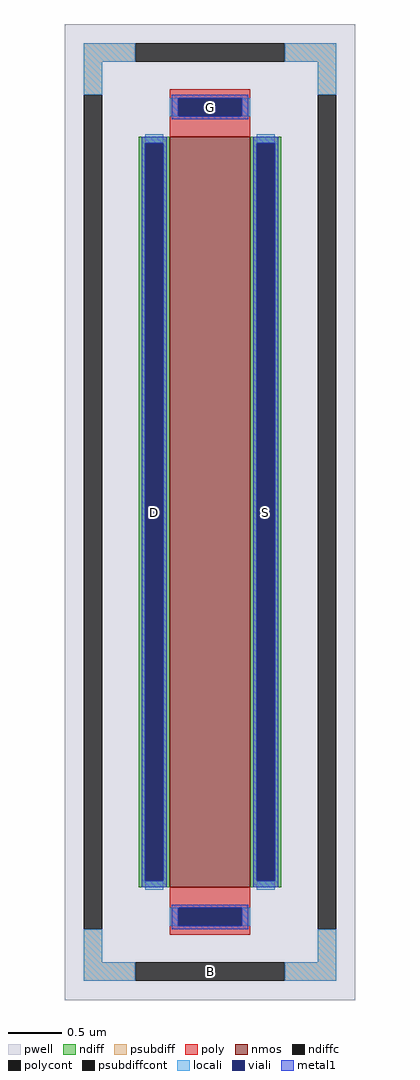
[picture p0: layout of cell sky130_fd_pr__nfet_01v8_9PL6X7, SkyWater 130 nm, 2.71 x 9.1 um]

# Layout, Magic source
magic
tech sky130A
magscale 1 2
<< pwell >>
rect -271 -910 271 910
<< nmos >>
rect -75 -700 75 700
<< ndiff >>
rect -133 688 -75 700
rect -133 -688 -121 688
rect -87 -688 -75 688
rect -133 -700 -75 -688
rect 75 688 133 700
rect 75 -688 87 688
rect 121 -688 133 688
rect 75 -700 133 -688
<< ndiffc >>
rect -121 -688 -87 688
rect 87 -688 121 688
<< psubdiff >>
rect -235 840 -139 874
rect 139 840 235 874
rect -235 778 -201 840
rect 201 778 235 840
rect -235 -840 -201 -778
rect 201 -840 235 -778
rect -235 -874 -139 -840
rect 139 -874 235 -840
<< psubdiffcont >>
rect -139 840 139 874
rect -235 -778 -201 778
rect 201 -778 235 778
rect -139 -874 139 -840
<< poly >>
rect -75 772 75 788
rect -75 738 -59 772
rect 59 738 75 772
rect -75 700 75 738
rect -75 -738 75 -700
rect -75 -772 -59 -738
rect 59 -772 75 -738
rect -75 -788 75 -772
<< polycont >>
rect -59 738 59 772
rect -59 -772 59 -738
<< locali >>
rect -235 840 -139 874
rect 139 840 235 874
rect -235 778 -201 840
rect 201 778 235 840
rect -75 738 -59 772
rect 59 738 75 772
rect -121 688 -87 704
rect -121 -704 -87 -688
rect 87 688 121 704
rect 87 -704 121 -688
rect -75 -772 -59 -738
rect 59 -772 75 -738
rect -235 -840 -201 -778
rect 201 -840 235 -778
rect -235 -874 -139 -840
rect 139 -874 235 -840
<< viali >>
rect -59 738 59 772
rect -121 -688 -87 688
rect 87 -688 121 688
rect -59 -772 59 -738
<< metal1 >>
rect -71 772 71 778
rect -71 738 -59 772
rect 59 738 71 772
rect -71 732 71 738
rect -127 688 -81 700
rect -127 -688 -121 688
rect -87 -688 -81 688
rect -127 -700 -81 -688
rect 81 688 127 700
rect 81 -688 87 688
rect 121 -688 127 688
rect 81 -700 127 -688
rect -71 -738 71 -732
rect -71 -772 -59 -738
rect 59 -772 71 -738
rect -71 -778 71 -772
<< labels >>
rlabel psubdiffcont 0 -857 0 -857 0 B
port 1 nsew
rlabel ndiffc -104 0 -104 0 0 D
port 2 nsew
rlabel ndiffc 104 0 104 0 0 S
port 3 nsew
rlabel polycont 0 755 0 755 0 G
port 4 nsew
<< properties >>
string FIXED_BBOX -218 -857 218 857
string gencell sky130_fd_pr__nfet_01v8
string library sky130
string parameters w 7.0 l 0.75 m 1 nf 1 diffcov 100 polycov 100 guard 1 glc 1 grc 1 gtc 1 gbc 1 tbcov 100 rlcov 100 topc 1 botc 1 poverlap 0 doverlap 1 lmin 0.15 wmin 0.42 class mosfet compatible {sky130_fd_pr__nfet_01v8 sky130_fd_pr__nfet_01v8_lvt  sky130_fd_bs_flash__special_sonosfet_star  sky130_fd_pr__nfet_g5v0d10v5 sky130_fd_pr__nfet_05v0_nvt  sky130_fd_pr__nfet_03v3_nvt} full_metal 1 viasrc 100 viadrn 100 viagate 100 viagb 0 viagr 0 viagl 0 viagt 0 doports 1
<< end >>
